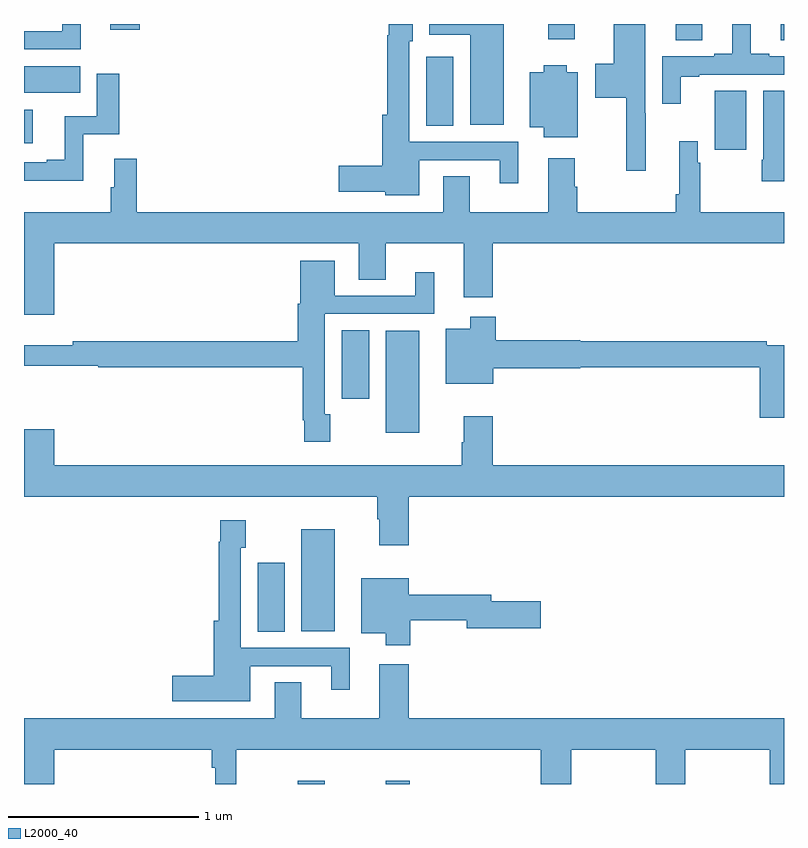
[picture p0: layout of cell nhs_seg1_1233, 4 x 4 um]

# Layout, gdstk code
import gdstk
lib = gdstk.Library(unit=1e-6, precision=1e-09)
def R(c, l, rs):  # rectangles x0, y0, x1, y1
    for r in rs: c.add(gdstk.rectangle(r[:2], r[2:], *l))
def P(c, l, *ps):  # polygons
    for p in ps: c.add(gdstk.Polygon(p, *l))
L2000_40 = (2000, 40)

nhs_seg1_1233 = lib.new_cell('nhs_seg1_1233')
R(nhs_seg1_1233, L2000_40, [(178.441,570.199,178.582,570.217), (178.904,570.199,179.029,570.217), (178.229,571,178.372,571.363), (178.46,571.004,178.636,571.54), (178.904,572.048,179.08,572.584), (178.673,572.226,178.816,572.588), (180.635,573.537,180.802,573.848), (177,573.572,177.046,573.748), (179.117,573.664,179.26,574.027), (177,573.836,177.295,573.976), (180.431,574.114,180.571,574.199), (180.983,574.114,181,574.199), (179.759,574.119,179.899,574.199), (177.455,574.17,177.608,574.199)])
P(nhs_seg1_1233, L2000_40, [(179.08,573.483),(179.504,573.483),(179.504,573.36),(179.602,573.36),(179.602,573.579),(179.028,573.579),(179.028,574.107),(179.047,574.107),(179.047,574.199),(178.92,574.199),(178.92,574.139),(178.912,574.139),(178.912,573.721),(178.886,573.721),(178.886,573.452),(178.656,573.452),(178.656,573.317),(178.902,573.317),(178.902,573.299),(179.08,573.299)],
  [(180.457,573.921),(180.553,573.921),(180.553,573.933),(181,573.933),(181,574.029),(180.922,574.029),(180.922,574.042),(180.826,574.042),(180.826,574.199),(180.728,574.199),(180.728,574.042),(180.632,574.042),(180.632,574.029),(180.36,574.029),(180.36,573.78),(180.457,573.78)],
  [(177.298,574.199),(177.2,574.199),(177.2,574.161),(177,574.161),(177,574.065),(177.298,574.065)],
  [(180.272,573.728),(180.27,573.728),(180.27,574.026),(180.271,574.026),(180.271,574.199),(180.104,574.199),(180.104,573.99),(180.006,573.99),(180.006,573.812),(180.169,573.812),(180.169,573.426),(180.272,573.426)],
  [(179.524,574.199),(179.132,574.199),(179.132,574.142),(179.348,574.142),(179.348,573.668),(179.524,573.668)],
  [(179.914,573.946),(179.857,573.946),(179.857,573.982),(179.735,573.982),(179.735,573.946),(179.663,573.946),(179.663,573.656),(179.735,573.656),(179.735,573.602),(179.914,573.602)],
  [(177.313,573.618),(177.5,573.618),(177.5,573.937),(177.384,573.937),(177.384,573.714),(177.215,573.714),(177.215,573.484),(177.119,573.484),(177.119,573.471),(177,573.471),(177,573.374),(177.313,573.374)],
  [(181,573.848),(180.89,573.848),(180.89,573.484),(180.883,573.484),(180.883,573.372),(181,573.372)],
  [(177.16,573.044),(178.763,573.044),(178.763,572.854),(178.903,572.854),(178.903,573.044),(179.315,573.044),(179.315,572.76),(179.468,572.76),(179.468,573.044),(181,573.044),(181,573.208),(180.559,573.208),(180.559,573.47),(180.546,573.47),(180.546,573.583),(180.449,573.583),(180.449,573.304),(180.43,573.304),(180.43,573.208),(179.912,573.208),(179.912,573.342),(179.899,573.342),(179.899,573.493),(179.759,573.493),(179.759,573.208),(179.347,573.208),(179.347,573.398),(179.207,573.398),(179.207,573.208),(177.593,573.208),(177.593,573.49),(177.476,573.49),(177.476,573.341),(177.457,573.341),(177.457,573.208),(177,573.208),(177,572.67),(177.16,572.67)],
  [(178.611,572.145),(178.584,572.145),(178.584,572.673),(179.158,572.673),(179.158,572.893),(179.06,572.893),(179.06,572.769),(178.636,572.769),(178.636,572.953),(178.454,572.953),(178.454,572.727),(178.442,572.727),(178.442,572.528),(177.256,572.528),(177.256,572.509),(177,572.509),(177,572.4),(177.391,572.4),(177.391,572.392),(178.468,572.392),(178.468,572.113),(178.476,572.113),(178.476,572.001),(178.611,572.001)],
  [(181,572.508),(180.908,572.508),(180.908,572.528),(179.928,572.528),(179.928,572.534),(179.483,572.534),(179.483,572.659),(179.348,572.659),(179.348,572.596),(179.219,572.596),(179.219,572.306),(179.47,572.306),(179.47,572.387),(179.928,572.387),(179.928,572.392),(180.872,572.392),(180.872,572.127),(181,572.127)],
  [(179.024,571.712),(181,571.712),(181,571.876),(179.468,571.876),(179.468,572.134),(179.315,572.134),(179.315,571.997),(179.303,571.997),(179.303,571.876),(177.16,571.876),(177.16,572.065),(177,572.065),(177,571.712),(178.859,571.712),(178.859,571.592),(178.871,571.592),(178.871,571.455),(179.024,571.455)],
  [(178.192,570.819),(178.616,570.819),(178.616,570.696),(178.714,570.696),(178.714,570.915),(178.14,570.915),(178.14,571.443),(178.167,571.443),(178.167,571.588),(178.032,571.588),(178.032,571.475),(178.024,571.475),(178.024,571.057),(177.998,571.057),(177.998,570.77),(177.78,570.77),(177.78,570.635),(178.192,570.635)],
  [(179.034,571.06),(179.33,571.06),(179.33,571.018),(179.719,571.018),(179.719,571.16),(179.458,571.16),(179.458,571.196),(179.026,571.196),(179.026,571.282),(178.775,571.282),(178.775,570.992),(178.904,570.992),(178.904,570.93),(179.034,570.93)],
  [(178.871,570.829),(178.871,570.544),(178.459,570.544),(178.459,570.734),(178.319,570.734),(178.319,570.544),(177,570.544),(177,570.199),(177.16,570.199),(177.16,570.38),(177.988,570.38),(177.988,570.284),(178.007,570.284),(178.007,570.199),(178.117,570.199),(178.117,570.38),(179.72,570.38),(179.72,570.199),(179.88,570.199),(179.88,570.38),(180.325,570.38),(180.325,570.199),(180.48,570.199),(180.48,570.38),(180.925,570.38),(180.925,570.199),(181,570.199),(181,570.544),(179.024,570.544),(179.024,570.829)])

lib.write_gds('nhs_seg1_1233.gds')
